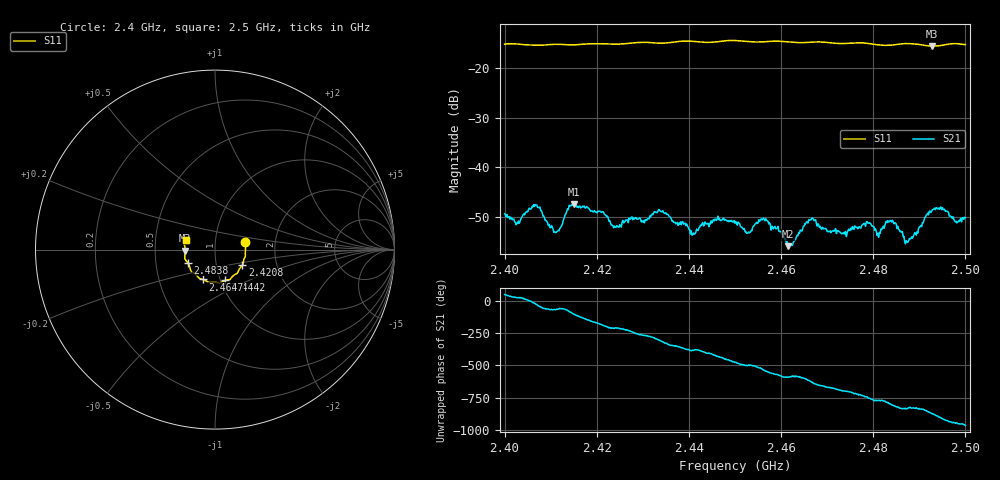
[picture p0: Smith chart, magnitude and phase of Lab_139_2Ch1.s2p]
# Hz S RI R 50
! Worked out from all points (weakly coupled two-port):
!   601 points, 2.4 GHz to 2.5 GHz, reference 50 ohm
!   highest |S21| = -47.40 dB at 2.415 GHz (marker M1); lowest = -55.9 dB at 2.4615 GHz (marker M2)
!   lowest |S11| = -15.6 dB at 2.4928 GHz (marker M3), VSWR 1.40, Z = 35.8 - j0.381 ohm
!   |S11| at or under -10 dB: start of sweep to end of sweep
!   S12 and S22 are empty: the file has one direction only
!   S11 on the Smith chart (normalised r, x): 2.4 GHz: 1.40, +0.12; 2.4208 GHz: 1.33, -0.24; 2.4442 GHz: 1.05, -0.37; 2.4647 GHz: 0.83, -0.29; 2.4838 GHz: 0.73, -0.11; 2.5 GHz: 0.72, +0.08
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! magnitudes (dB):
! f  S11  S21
! 2.4 GHz  -15.2  -49.3
! 2.4028 GHz  -15.2  -51.3
! 2.4068 GHz  -15.4  -47.6
! 2.4112 GHz  -15.3  -53.1
! 2.415 GHz  -15.4  -47.4
! 2.4167 GHz  -15.3  -48.1
! 2.4208 GHz  -15.1  -48.9
! 2.4242 GHz  -15.2  -52.1
! 2.4333 GHz  -15.0  -48.7
! 2.4408 GHz  -14.6  -53.6
! 2.4442 GHz  -14.9  -51.3
! 2.45 GHz  -14.5  -51.3
! 2.4567 GHz  -14.7  -50.3
! 2.4615 GHz  -14.8  -55.9
! 2.4647 GHz  -14.9  -52.4
! 2.4667 GHz  -14.8  -50.2
! 2.4737 GHz  -15.1  -53.1
! 2.4833 GHz  -15.5  -51.0
! 2.4838 GHz  -15.4  -50.7
! 2.4873 GHz  -15.1  -55.0
! 2.4928 GHz  -15.6  -48.6
! 2.5 GHz  -15.3  -50.1
